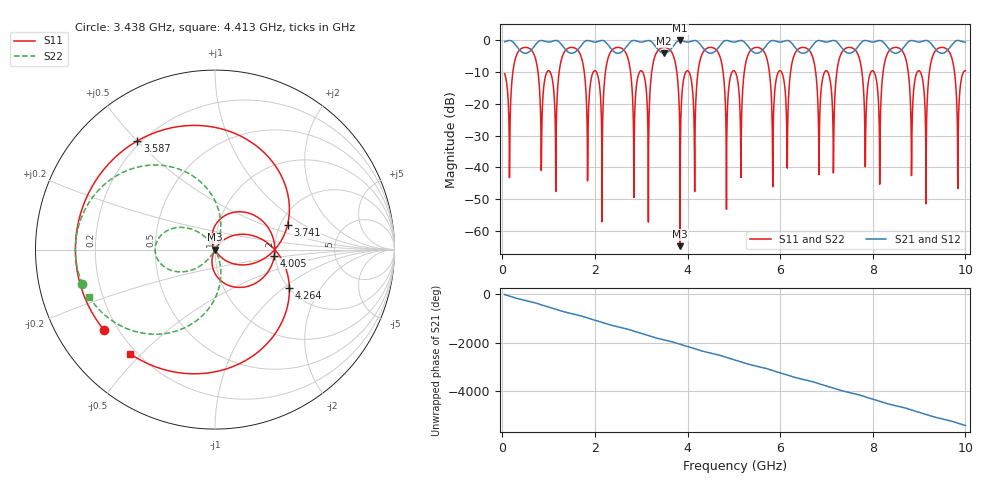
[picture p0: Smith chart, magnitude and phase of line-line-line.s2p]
! 2-Port simulation of three cascaded transmission lines.
! Setup:
!  500 ps  500 ps  500 ps
!  50 Ω  50 Ω  100 Ω  50 Ω  100 Ω
!  1 o---()__)----()__)----()__)---o 2
! This model can be used to verify the TDR functionality, when showing step
!  response as impedance. Both for S11 and S22, you expect to see 50 Ω for
!  1 ns, then ≈100 Ω for 1 ns, then ≈50 Ω again. Especially for S22, you
!  may need to adjust the shifting to get the start of the impedance profile
!  right. The frequency mesh does not start at DC, and cannot be extrapolated
!  to DC in an equidistant way, so this file also shows the effect of the
!  different extrapolation/interpolation methods.
[Version] 2.0
# HZ S RI R 50
[Number of Ports] 2
[Reference] 50 100
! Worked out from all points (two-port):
!   2001 points, 50 MHz to 10 GHz, reference per port
!   highest |S21| = 0.00 dB at 3.841 GHz (marker M1); lowest = -4.0 dB at 3.498 GHz (marker M2)
!   |S21| within 3 dB of the highest: 626.5 MHz to 1.372 GHz (745.7 MHz wide, 74.6 % of centre); 1.626 GHz to 2.371 GHz (745.7 MHz wide, 37.3 % of centre)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
!   lowest |S11| = -64.8 dB at 3.841 GHz (marker M3), VSWR 1.00
!   |S11| at or under -10 dB: 771.3 MHz to 963.5 MHz (192.2 MHz wide, 22.2 % of centre); 1.771 GHz to 1.963 GHz (192.2 MHz wide, 10.3 % of centre); 2.035 GHz to 2.227 GHz (192.2 MHz wide, 9.02 % of centre)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
!   |S22| runs from -64.8 to -2.2 dB; largest |S21 - S12| = 1e-12
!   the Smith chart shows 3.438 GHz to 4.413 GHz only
!   S11 on the Smith chart (normalised r, x): 3.438 GHz: 0.15, -0.32; 3.587 GHz: 0.18, +0.50; 3.741 GHz: 2.19, +0.73; 4.005 GHz: 1.98, -0.15; 4.264 GHz: 2.02, -1.09; 4.413 GHz: 0.18, -0.46
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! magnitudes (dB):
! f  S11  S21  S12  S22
! 50 MHz  -10.5  -0.4  -0.4  -10.5
! 1.712 GHz  -5.5  -1.4  -1.4  -5.5
! 1.846 GHz  -36.8  0.0  0.0  -36.8
! 3.149 GHz  -34.4  0.0  0.0  -34.4
! 3.368 GHz  -3.1  -3.0  -3.0  -3.1
! 3.438 GHz  -2.3  -3.8  -3.8  -2.3
! 3.498 GHz  -2.2  -4.0  -4.0  -2.2
! 3.587 GHz  -2.6  -3.5  -3.5  -2.6
! 3.741 GHz  -7.4  -0.9  -0.9  -7.4
! 3.841 GHz  -64.8  0.0  0.0  -64.8
! 4.005 GHz  -9.6  -0.5  -0.5  -9.6
! 4.264 GHz  -6.6  -1.1  -1.1  -6.6
! 4.413 GHz  -2.5  -3.6  -3.6  -2.5
! 5.025 GHz  -9.8  -0.5  -0.5  -9.8
! 6.149 GHz  -39.2  0.0  0.0  -39.2
! 6.687 GHz  -4.6  -1.9  -1.9  -4.6
! 6.841 GHz  -42.3  0.0  0.0  -42.3
! 7.498 GHz  -2.2  -4.0  -4.0  -2.2
! 8.144 GHz  -31.8  0.0  0.0  -31.8
! 8.343 GHz  -3.5  -2.6  -2.6  -3.5
! 8.841 GHz  -37.6  0.0  0.0  -37.6
! 10 GHz  -9.6  -0.5  -0.5  -9.6
